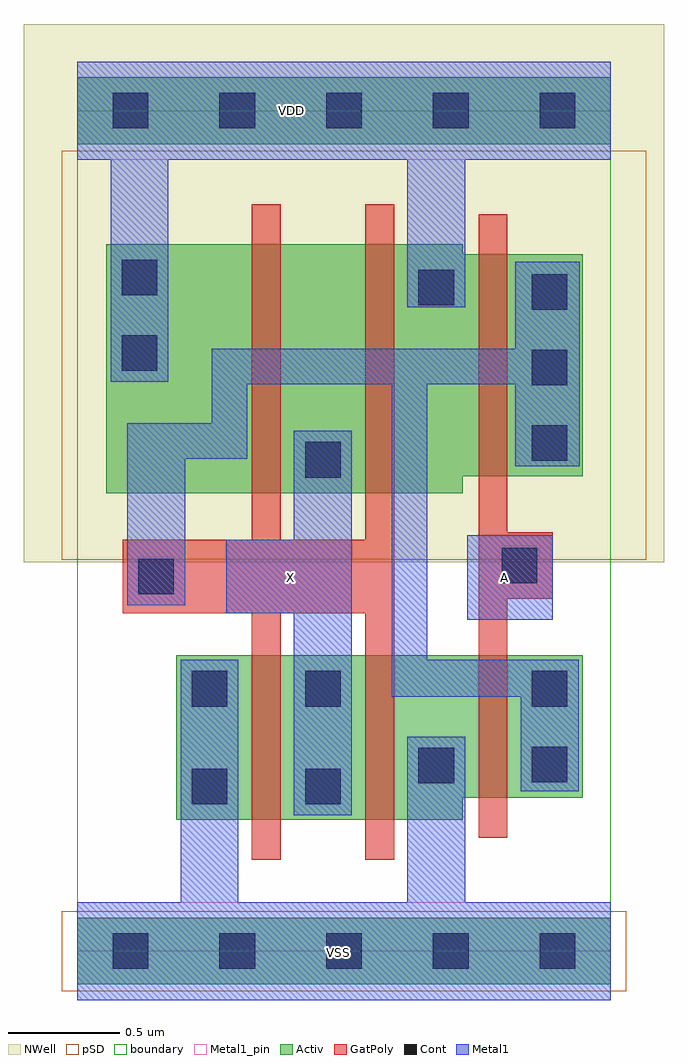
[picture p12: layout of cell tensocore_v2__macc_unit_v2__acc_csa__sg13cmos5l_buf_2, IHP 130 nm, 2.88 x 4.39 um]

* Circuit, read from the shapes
.subckt tensocore_v2__macc_unit_v2__acc_csa__sg13cmos5l_buf_2 A VDD VSS X
XM1 X n1 VSS VSS sg13_lv_nmos w=0.74u l=0.13u m=2
XM2 n1 A VSS VSS sg13_lv_nmos w=0.64u l=0.13u
XM3 X n1 VDD VDD sg13_lv_pmos w=1.12u l=0.13u m=2
XM4 n1 A VDD VDD sg13_lv_pmos w=1u l=0.13u
.ends

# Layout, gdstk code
import gdstk
lib = gdstk.Library(unit=1e-6, precision=1e-09)
def R(c, l, rs):  # rectangles x0, y0, x1, y1
    for r in rs: c.add(gdstk.rectangle(r[:2], r[2:], *l))
def A(c, l, x, y, w, h, nx, ny, dx, dy):  # array of equal rectangles
    R(c, l, [(x+i*dx, y+j*dy, x+i*dx+w, y+j*dy+h) for i in range(nx) for j in range(ny)])
def P(c, l, *ps):  # polygons
    for p in ps: c.add(gdstk.Polygon(p, *l))
Activ = (1, 0)
GatPoly = (5, 0)
Cont = (6, 0)
Metal1 = (8, 0)
Metal1_pin = (8, 2)
pSD = (14, 0)
NWell = (31, 0)
boundary = (189, 4)

tensocore_v2__macc_unit_ = lib.new_cell('tensocore_v2__macc_unit_v2__acc_csa__sg13cmos5l_buf_2')
R(tensocore_v2__macc_unit_, Activ, [(0,-0.15,2.4,0.15), (0,3.63,2.4,3.93)])
P(tensocore_v2__macc_unit_, Activ, [(0.445,0.59),(0.445,1.33),(2.275,1.33),(2.275,0.69),(1.735,0.69),(1.735,0.59)],
  [(0.13,2.06),(0.13,3.18),(1.735,3.18),(1.735,3.135),(2.275,3.135),(2.275,2.135),(1.735,2.135),(1.735,2.06)])
P(tensocore_v2__macc_unit_, GatPoly, [(0.785,0.41),(0.785,1.52),(0.205,1.52),(0.205,1.85),(0.785,1.85),(0.785,3.36),(0.915,3.36),(0.915,1.85),(1.295,1.85),(1.295,3.36),(1.425,3.36),(1.425,0.41),(1.295,0.41),(1.295,1.52),(0.915,1.52),(0.915,0.41)],
  [(1.805,0.51),(1.805,3.315),(1.935,3.315),(1.935,1.885),(2.14,1.885),(2.14,1.585),(1.935,1.585),(1.935,0.51)])
A(tensocore_v2__macc_unit_, Cont, 0.16, -0.08, 0.16, 0.16, 3, 1, 0.48, 0)
A(tensocore_v2__macc_unit_, Cont, 2.045, 2.205, 0.16, 0.16, 1, 3, 0, 0.34)
R(tensocore_v2__macc_unit_, Cont, [(0.16,-0.08,0.32,0.08), (1.12,-0.08,1.28,0.08), (1.6,-0.08,1.76,0.08), (1.6,-0.08,1.76,0.08), (2.08,-0.08,2.24,0.08), (2.08,-0.08,2.24,0.08), (0.515,0.66,0.675,0.82), (1.025,0.66,1.185,0.82), (1.535,0.755,1.695,0.915), (2.045,0.76,2.205,0.92), (0.515,1.1,0.675,1.26), (1.025,1.1,1.185,1.26), (2.045,1.1,2.205,1.26), (0.275,1.605,0.435,1.765), (1.91,1.655,2.07,1.815), (1.025,2.13,1.185,2.29), (0.2,2.61,0.36,2.77), (1.535,2.905,1.695,3.065), (0.2,2.95,0.36,3.11), (0.16,3.7,0.32,3.86), (0.16,3.7,0.32,3.86), (0.64,3.7,0.8,3.86), (0.64,3.7,0.8,3.86), (1.12,3.7,1.28,3.86), (1.12,3.7,1.28,3.86), (1.6,3.7,1.76,3.86), (1.6,3.7,1.76,3.86), (2.08,3.7,2.24,3.86), (2.08,3.7,2.24,3.86)])
R(tensocore_v2__macc_unit_, Metal1, [(1.755,1.49,2.14,1.87)])
P(tensocore_v2__macc_unit_, Metal1, [(0,-0.22),(0,0.22),(0.465,0.22),(0.465,1.31),(0.725,1.31),(0.725,0.22),(1.485,0.22),(1.485,0.965),(1.745,0.965),(1.745,0.22),(2.4,0.22),(2.4,-0.22)],
  [(0.975,0.61),(0.975,1.52),(0.67,1.52),(0.67,1.85),(0.975,1.85),(0.975,2.34),(1.235,2.34),(1.235,0.61)],
  [(0.15,2.56),(0.15,3.56),(0,3.56),(0,4),(2.4,4),(2.4,3.56),(1.745,3.56),(1.745,2.895),(1.485,2.895),(1.485,3.56),(0.41,3.56),(0.41,2.56)],
  [(1.995,0.72),(1.995,1.145),(1.415,1.145),(1.415,2.55),(0.765,2.55),(0.765,2.215),(0.485,2.215),(0.485,1.555),(0.225,1.555),(0.225,2.375),(0.605,2.375),(0.605,2.71),(1.97,2.71),(1.97,3.1),(2.26,3.1),(2.26,2.18),(1.97,2.18),(1.97,2.55),(1.575,2.55),(1.575,1.31),(2.255,1.31),(2.255,0.72)])
R(tensocore_v2__macc_unit_, Metal1_pin, [(0,-0.22,2.4,0.22), (1.755,1.49,2.14,1.87), (0.67,1.52,1.235,1.85), (0,3.56,2.4,4)])
R(tensocore_v2__macc_unit_, pSD, [(-0.07,-0.18,2.47,0.18), (-0.07,1.76,2.56,3.6)])
R(tensocore_v2__macc_unit_, NWell, [(-0.24,1.75,2.64,4.17)])
R(tensocore_v2__macc_unit_, boundary, [(0,0,2.4,3.78)])
tensocore_v2__macc_unit_.add(gdstk.Label('A', (1.92,1.68), layer=8, texttype=25))
tensocore_v2__macc_unit_.add(gdstk.Label('X', (0.96,1.68), layer=8, texttype=25))
tensocore_v2__macc_unit_.add(gdstk.Label('VDD', (0.965,3.78), layer=8, texttype=25))
tensocore_v2__macc_unit_.add(gdstk.Label('VSS', (1.175,-0.005), layer=8, texttype=25))

lib.write_gds('tensocore_v2__macc_unit_v2__acc_csa__sg13cmos5l_buf_2.gds')
